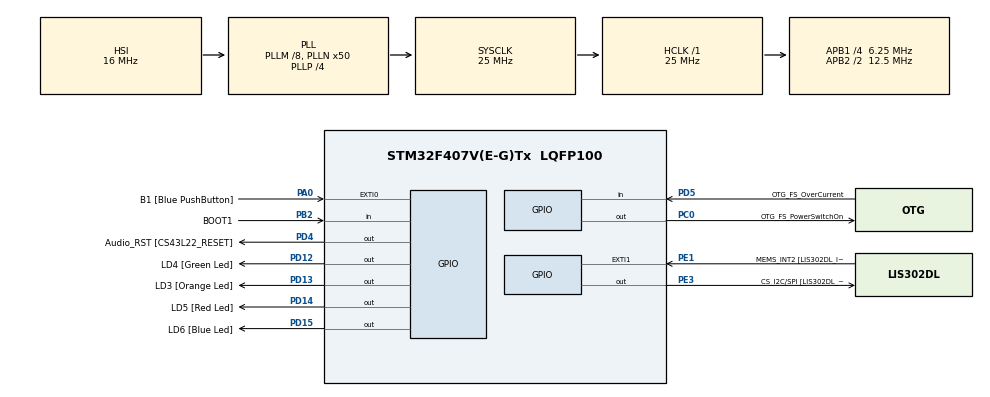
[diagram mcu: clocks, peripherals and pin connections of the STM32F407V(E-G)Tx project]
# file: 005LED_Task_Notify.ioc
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Mcu.Family=STM32F4
Mcu.Name=STM32F407V(E-G)Tx
Mcu.Package=LQFP100
NVIC.PriorityGroup=NVIC_PRIORITYGROUP_4
NVIC.TIM6_DAC_IRQn=true\:15\:0\:false\:false\:true\:false\:true
NVIC.TimeBase=TIM6_DAC_IRQn
NVIC.TimeBaseIP=TIM6
PA0-WKUP.GPIO_Label=B1 [Blue PushButton]
PA0-WKUP.Signal=GPXTI0
PA10.GPIO_Label=OTG_FS_ID
PA10.GPIO_Mode=GPIO_MODE_AF_PP
PA10.GPIO_PuPd=GPIO_NOPULL
PA10.GPIO_Speed=GPIO_SPEED_FREQ_LOW
PA10.Signal=USB_OTG_FS_ID
PA11.GPIO_Label=OTG_FS_DM
PA11.GPIO_Mode=GPIO_MODE_AF_PP
PA11.GPIO_PuPd=GPIO_NOPULL
PA11.GPIO_Speed=GPIO_SPEED_FREQ_LOW
PA11.Signal=USB_OTG_FS_DM
PA12.GPIO_Label=OTG_FS_DP
PA12.GPIO_Mode=GPIO_MODE_AF_PP
PA12.GPIO_PuPd=GPIO_NOPULL
PA12.GPIO_Speed=GPIO_SPEED_FREQ_LOW
PA12.Signal=USB_OTG_FS_DP
PA13.GPIO_Label=SWDIO
PA13.Signal=SYS_JTMS-SWDIO
PA14.GPIO_Label=SWCLK
PA14.Signal=SYS_JTCK-SWCLK
PA4.GPIO_Label=I2S3_WS [CS43L22_LRCK]
PA4.GPIO_Mode=GPIO_MODE_AF_PP
PA4.GPIO_PuPd=GPIO_NOPULL
PA4.GPIO_Speed=GPIO_SPEED_FREQ_LOW
PA4.Signal=I2S3_WS
PA5.GPIO_Label=SPI1_SCK [LIS302DL_SCL/SPC]
PA5.GPIO_Mode=GPIO_MODE_AF_PP
PA5.GPIO_PuPd=GPIO_NOPULL
PA5.GPIO_Speed=GPIO_SPEED_FREQ_LOW
PA5.Signal=SPI1_SCK
PA6.GPIO_Label=SPI1_MISO [LIS302DL_SDO]
PA6.GPIO_Mode=GPIO_MODE_AF_PP
PA6.GPIO_PuPd=GPIO_NOPULL
PA6.GPIO_Speed=GPIO_SPEED_FREQ_LOW
PA6.Signal=SPI1_MISO
PA7.GPIO_Label=SPI1_MOSI [LIS302DL_SDA/SDI/SDO]
PA7.GPIO_Mode=GPIO_MODE_AF_PP
PA7.GPIO_PuPd=GPIO_NOPULL
PA7.GPIO_Speed=GPIO_SPEED_FREQ_LOW
PA7.Signal=SPI1_MOSI
PA9.GPIO_Label=VBUS_FS
PA9.GPIO_Mode=GPIO_MODE_INPUT
PA9.GPIO_PuPd=GPIO_NOPULL
PA9.Signal=USB_OTG_FS_VBUS
PB10.GPIO_Label=CLK_IN [MP45DT02_CLK]
PB10.GPIO_Mode=GPIO_MODE_AF_PP
PB10.GPIO_PuPd=GPIO_NOPULL
PB10.GPIO_Speed=GPIO_SPEED_FREQ_LOW
PB10.Signal=I2S2_CK
PB2.GPIO_Label=BOOT1
PB2.GPIO_Mode=GPIO_MODE_INPUT
PB2.GPIO_PuPd=GPIO_NOPULL
PB2.Signal=GPIO_Input
PB3.GPIO_Label=SWO
PB3.Signal=SYS_JTDO-SWO
PB6.GPIO_Label=Audio_SCL [CS43L22_SCL]
PB6.GPIO_Mode=GPIO_MODE_AF_OD
PB6.GPIO_PuPd=GPIO_NOPULL
PB6.GPIO_Speed=GPIO_SPEED_FREQ_LOW
PB6.Signal=I2C1_SCL
PB9.GPIO_Label=Audio_SDA [CS43L22_SDA]
PB9.GPIO_Mode=GPIO_MODE_AF_OD
PB9.GPIO_PuPd=GPIO_NOPULL
PB9.GPIO_Speed=GPIO_SPEED_FREQ_LOW
PB9.Signal=I2C1_SDA
PC0.GPIO_Label=OTG_FS_PowerSwitchOn
PC0.GPIO_PuPd=GPIO_NOPULL
PC0.GPIO_Speed=GPIO_SPEED_FREQ_LOW
PC0.PinState=GPIO_PIN_SET
PC0.Signal=GPIO_Output
PC10.GPIO_Label=I2S3_SCK [CS43L22_SCLK]
PC10.GPIO_Mode=GPIO_MODE_AF_PP
PC10.GPIO_PuPd=GPIO_NOPULL
PC10.GPIO_Speed=GPIO_SPEED_FREQ_LOW
PC10.Signal=I2S3_CK
PC12.GPIO_Label=I2S3_SD [CS43L22_SDIN]
PC12.GPIO_Mode=GPIO_MODE_AF_PP
PC12.GPIO_PuPd=GPIO_NOPULL
PC12.GPIO_Speed=GPIO_SPEED_FREQ_LOW
PC12.Signal=I2S3_SD
PC14-OSC32_IN.GPIO_Label=PC14-OSC32_IN
PC14-OSC32_IN.Signal=RCC_OSC32_IN
PC15-OSC32_OUT.GPIO_Label=PC15-OSC32_OUT
PC15-OSC32_OUT.Signal=RCC_OSC32_OUT
PC3.GPIO_Label=PDM_OUT [MP45DT02_DOUT]
PC3.GPIO_Mode=GPIO_MODE_AF_PP
PC3.GPIO_PuPd=GPIO_NOPULL
PC3.GPIO_Speed=GPIO_SPEED_FREQ_LOW
PC3.Signal=I2S2_SD
PC7.GPIO_Label=I2S3_MCK [CS43L22_MCLK]
PC7.GPIO_Mode=GPIO_MODE_AF_PP
PC7.GPIO_PuPd=GPIO_NOPULL
PC7.GPIO_Speed=GPIO_SPEED_FREQ_LOW
PC7.Signal=I2S3_MCK
PD12.GPIO_Label=LD4 [Green Led]
PD12.GPIO_PuPd=GPIO_NOPULL
PD12.GPIO_Speed=GPIO_SPEED_FREQ_LOW
PD12.Signal=GPIO_Output
PD13.GPIO_Label=LD3 [Orange Led]
PD13.GPIO_PuPd=GPIO_NOPULL
PD13.GPIO_Speed=GPIO_SPEED_FREQ_LOW
PD13.Signal=GPIO_Output
PD14.GPIO_Label=LD5 [Red Led]
PD14.GPIO_PuPd=GPIO_NOPULL
PD14.GPIO_Speed=GPIO_SPEED_FREQ_LOW
PD14.Signal=GPIO_Output
PD15.GPIO_Label=LD6 [Blue Led]
PD15.GPIO_PuPd=GPIO_NOPULL
PD15.GPIO_Speed=GPIO_SPEED_FREQ_LOW
PD15.Signal=GPIO_Output
PD4.GPIO_Label=Audio_RST [CS43L22_RESET]
PD4.GPIO_PuPd=GPIO_NOPULL
PD4.GPIO_Speed=GPIO_SPEED_FREQ_LOW
PD4.Signal=GPIO_Output
PD5.GPIO_Label=OTG_FS_OverCurrent
PD5.GPIO_Mode=GPIO_MODE_INPUT
PD5.GPIO_PuPd=GPIO_NOPULL
PD5.Signal=GPIO_Input
PE1.GPIO_Label=MEMS_INT2 [LIS302DL_INT2]
PE1.GPIO_ModeDefaultEXTI=GPIO_MODE_EVT_RISING
PE1.GPIO_PuPd=GPIO_NOPULL
PE1.Signal=GPXTI1
PE3.GPIO_Label=CS_I2C/SPI [LIS302DL_CS_I2C/SPI]
PE3.GPIO_PuPd=GPIO_NOPULL
PE3.GPIO_Speed=GPIO_SPEED_FREQ_LOW
PE3.Signal=GPIO_Output
PH0-OSC_IN.GPIO_Label=PH0-OSC_IN
PH0-OSC_IN.Signal=RCC_OSC_IN
PH1-OSC_OUT.GPIO_Label=PH1-OSC_OUT
PH1-OSC_OUT.Signal=RCC_OSC_OUT
ProjectManager.HeapSize=0x200
ProjectManager.StackSize=0x400
ProjectManager.TargetToolchain=STM32CubeIDE
RCC.48MHZClocksFreq_Value=14285714.285714285
RCC.AHBFreq_Value=25000000
RCC.APB1CLKDivider=RCC_HCLK_DIV4
RCC.APB1Freq_Value=6250000
RCC.APB1TimFreq_Value=12500000
RCC.APB2CLKDivider=RCC_HCLK_DIV2
RCC.APB2Freq_Value=12500000
RCC.APB2TimFreq_Value=25000000
RCC.CortexFreq_Value=25000000
RCC.HCLKFreq_Value=25000000
RCC.HSE_VALUE=8000000
RCC.HSI_VALUE=16000000
RCC.LSE_VALUE=32768
RCC.PLLM=8
RCC.PLLN=50
RCC.PLLP=RCC_PLLP_DIV4
RCC.PLLQ=7
RCC.SYSCLKFreq_VALUE=25000000
RCC.SYSCLKSource=RCC_SYSCLKSOURCE_PLLCLK
RCC.VCOOutputFreq_Value=100000000
VP_SYS_VS_tim6.Mode=TIM6
board=STM32F407G-DISC1

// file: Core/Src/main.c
/* USER CODE BEGIN Header */
/**
  ******************************************************************************
  * @file           : main.c
  * @brief          : Main program body
  ******************************************************************************
  * @attention
  *
  * <h2><center>&copy; Copyright (c) 2022 STMicroelectronics.
  * All rights reserved.</center></h2>
  *
  * This software component is licensed by ST under BSD 3-Clause license,
  * the "License"; You may not use this file except in compliance with the
  * License. You may obtain a copy of the License at:
  *                        opensource.org/licenses/BSD-3-Clause
  *
  ******************************************************************************
  */
/* USER CODE END Header */
#include "main.h"

/* USER CODE BEGIN Includes */
#include <stdio.h>
#include "FreeRTOS.h"
#include "task.h"
/* USER CODE END Includes */

/* USER CODE BEGIN PV */
#define DWT_CTRL	(*(volatile uint32_t*)0xE0001000)
/* USER CODE END PV */

void SystemClock_Config(void);
static void MX_GPIO_Init(void);
/* USER CODE BEGIN PFP */

static void led_green_handler(void *parameters);
static void led_orange_handler(void *parameters);
static void led_red_handler(void *parameters);
static void button_handler(void *parameters);

extern void SEGGER_UART_init(U32 baud);

TaskHandle_t ledg_task_handle;
TaskHandle_t ledo_task_handle;
TaskHandle_t ledr_task_handle;
TaskHandle_t btn_task_handle;

TaskHandle_t volatile next_task_handle = NULL;

/* USER CODE END PFP */

int main(void)
{
  /* USER CODE BEGIN 1 */

	BaseType_t status;

  /* USER CODE END 1 */

  /* MCU Configuration--------------------------------------------------------*/

  /* Reset of all peripherals, Initializes the Flash interface and the Systick. */
  HAL_Init();

  /* Configure the system clock */
  SystemClock_Config();

  /* Initialize all configured peripherals */
  MX_GPIO_Init();
  /* USER CODE BEGIN 2 */

  // Enable the CYCCNT counter
  DWT_CTRL |= (1 << 0);

  SEGGER_UART_init(500000);

  SEGGER_SYSVIEW_Conf();

  status = xTaskCreate(led_green_handler, "led_green_task", 200, NULL, 3, &ledg_task_handle);

  configASSERT(status == pdPASS);

  next_task_handle = ledg_task_handle;

  status = xTaskCreate(led_orange_handler, "led_orange_task", 200, NULL, 2, &ledo_task_handle);

  configASSERT(status == pdPASS);

  status = xTaskCreate(led_red_handler, "led_red_task", 200, NULL, 1, &ledr_task_handle);

  configASSERT(status == pdPASS);

  status = xTaskCreate(button_handler, "Button Task", 200, NULL, 4, &btn_task_handle);

  configASSERT(status == pdPASS);

  // start the freeRTOS schedular
  vTaskStartScheduler();

  // if the control comes here then the launch of the schedular has failed due to insufficient memory in heap

  /* USER CODE END 2 */

  /* Infinite loop */
  while (1)
  {

  }
}

void SystemClock_Config(void)
{
  RCC_OscInitTypeDef RCC_OscInitStruct = {0};
  RCC_ClkInitTypeDef RCC_ClkInitStruct = {0};

  /** Configure the main internal regulator output voltage
  */
  __HAL_RCC_PWR_CLK_ENABLE();
  __HAL_PWR_VOLTAGESCALING_CONFIG(PWR_REGULATOR_VOLTAGE_SCALE1);
  /** Initializes the RCC Oscillators according to the specified parameters
  * in the RCC_OscInitTypeDef structure.
  */
  RCC_OscInitStruct.OscillatorType = RCC_OSCILLATORTYPE_HSI;
  RCC_OscInitStruct.HSIState = RCC_HSI_ON;
  RCC_OscInitStruct.HSICalibrationValue = RCC_HSICALIBRATION_DEFAULT;
  RCC_OscInitStruct.PLL.PLLState = RCC_PLL_ON;
  RCC_OscInitStruct.PLL.PLLSource = RCC_PLLSOURCE_HSI;
  RCC_OscInitStruct.PLL.PLLM = 8;
  RCC_OscInitStruct.PLL.PLLN = 50;
  RCC_OscInitStruct.PLL.PLLP = RCC_PLLP_DIV4;
  RCC_OscInitStruct.PLL.PLLQ = 7;
  if (HAL_RCC_OscConfig(&RCC_OscInitStruct) != HAL_OK)
  {
    Error_Handler();
  }
  /** Initializes the CPU, AHB and APB buses clocks
  */
  RCC_ClkInitStruct.ClockType = RCC_CLOCKTYPE_HCLK|RCC_CLOCKTYPE_SYSCLK
                              |RCC_CLOCKTYPE_PCLK1|RCC_CLOCKTYPE_PCLK2;
  RCC_ClkInitStruct.SYSCLKSource = RCC_SYSCLKSOURCE_PLLCLK;
  RCC_ClkInitStruct.AHBCLKDivider = RCC_SYSCLK_DIV1;
  RCC_ClkInitStruct.APB1CLKDivider = RCC_HCLK_DIV4;
  RCC_ClkInitStruct.APB2CLKDivider = RCC_HCLK_DIV2;

  if (HAL_RCC_ClockConfig(&RCC_ClkInitStruct, FLASH_LATENCY_0) != HAL_OK)
  {
    Error_Handler();
  }
}

static void MX_GPIO_Init(void)
{
  GPIO_InitTypeDef GPIO_InitStruct = {0};

  /* GPIO Ports Clock Enable */
  __HAL_RCC_GPIOE_CLK_ENABLE();
  __HAL_RCC_GPIOC_CLK_ENABLE();
  __HAL_RCC_GPIOH_CLK_ENABLE();
  __HAL_RCC_GPIOA_CLK_ENABLE();
  __HAL_RCC_GPIOB_CLK_ENABLE();
  __HAL_RCC_GPIOD_CLK_ENABLE();

  /*Configure GPIO pin Output Level */
  HAL_GPIO_WritePin(CS_I2C_SPI_GPIO_Port, CS_I2C_SPI_Pin, GPIO_PIN_RESET);

  /*Configure GPIO pin Output Level */
  HAL_GPIO_WritePin(OTG_FS_PowerSwitchOn_GPIO_Port, OTG_FS_PowerSwitchOn_Pin, GPIO_PIN_SET);

  /*Configure GPIO pin Output Level */
  HAL_GPIO_WritePin(GPIOD, LD4_Pin|LD3_Pin|LD5_Pin|LD6_Pin
                          |Audio_RST_Pin, GPIO_PIN_RESET);

  /*Configure GPIO pin : CS_I2C_SPI_Pin */
  GPIO_InitStruct.Pin = CS_I2C_SPI_Pin;
  GPIO_InitStruct.Mode = GPIO_MODE_OUTPUT_PP;
  GPIO_InitStruct.Pull = GPIO_NOPULL;
  GPIO_InitStruct.Speed = GPIO_SPEED_FREQ_LOW;
  HAL_GPIO_Init(CS_I2C_SPI_GPIO_Port, &GPIO_InitStruct);

  /*Configure GPIO pin : OTG_FS_PowerSwitchOn_Pin */
  GPIO_InitStruct.Pin = OTG_FS_PowerSwitchOn_Pin;
  GPIO_InitStruct.Mode = GPIO_MODE_OUTPUT_PP;
  GPIO_InitStruct.Pull = GPIO_NOPULL;
  GPIO_InitStruct.Speed = GPIO_SPEED_FREQ_LOW;
  HAL_GPIO_Init(OTG_FS_PowerSwitchOn_GPIO_Port, &GPIO_InitStruct);

  /*Configure GPIO pin : PDM_OUT_Pin */
  GPIO_InitStruct.Pin = PDM_OUT_Pin;
  GPIO_InitStruct.Mode = GPIO_MODE_AF_PP;
  GPIO_InitStruct.Pull = GPIO_NOPULL;
  GPIO_InitStruct.Speed = GPIO_SPEED_FREQ_LOW;
  GPIO_InitStruct.Alternate = GPIO_AF5_SPI2;
  HAL_GPIO_Init(PDM_OUT_GPIO_Port, &GPIO_InitStruct);

  /*Configure GPIO pin : B1_Pin */
  GPIO_InitStruct.Pin = B1_Pin;
  GPIO_InitStruct.Mode = GPIO_MODE_IT_RISING;
  GPIO_InitStruct.Pull = GPIO_NOPULL;
  HAL_GPIO_Init(B1_GPIO_Port, &GPIO_InitStruct);

  /*Configure GPIO pin : I2S3_WS_Pin */
  GPIO_InitStruct.Pin = I2S3_WS_Pin;
  GPIO_InitStruct.Mode = GPIO_MODE_AF_PP;
  GPIO_InitStruct.Pull = GPIO_NOPULL;
  GPIO_InitStruct.Speed = GPIO_SPEED_FREQ_LOW;
  GPIO_InitStruct.Alternate = GPIO_AF6_SPI3;
  HAL_GPIO_Init(I2S3_WS_GPIO_Port, &GPIO_InitStruct);

  /*Configure GPIO pins : SPI1_SCK_Pin SPI1_MISO_Pin SPI1_MOSI_Pin */
  GPIO_InitStruct.Pin = SPI1_SCK_Pin|SPI1_MISO_Pin|SPI1_MOSI_Pin;
  GPIO_InitStruct.Mode = GPIO_MODE_AF_PP;
  GPIO_InitStruct.Pull = GPIO_NOPULL;
  GPIO_InitStruct.Speed = GPIO_SPEED_FREQ_LOW;
  GPIO_InitStruct.Alternate = GPIO_AF5_SPI1;
  HAL_GPIO_Init(GPIOA, &GPIO_InitStruct);

  /*Configure GPIO pin : BOOT1_Pin */
  GPIO_InitStruct.Pin = BOOT1_Pin;
  GPIO_InitStruct.Mode = GPIO_MODE_INPUT;
  GPIO_InitStruct.Pull = GPIO_NOPULL;
  HAL_GPIO_Init(BOOT1_GPIO_Port, &GPIO_InitStruct);

  /*Configure GPIO pin : CLK_IN_Pin */
  GPIO_InitStruct.Pin = CLK_IN_Pin;
  GPIO_InitStruct.Mode = GPIO_MODE_AF_PP;
  GPIO_InitStruct.Pull = GPIO_NOPULL;
  GPIO_InitStruct.Speed = GPIO_SPEED_FREQ_LOW;
  GPIO_InitStruct.Alternate = GPIO_AF5_SPI2;
  HAL_GPIO_Init(CLK_IN_GPIO_Port, &GPIO_InitStruct);

  /*Configure GPIO pins : LD4_Pin LD3_Pin LD5_Pin LD6_Pin
                           Audio_RST_Pin */
  GPIO_InitStruct.Pin = LD4_Pin|LD3_Pin|LD5_Pin|LD6_Pin
                          |Audio_RST_Pin;
  GPIO_InitStruct.Mode = GPIO_MODE_OUTPUT_PP;
  GPIO_InitStruct.Pull = GPIO_NOPULL;
  GPIO_InitStruct.Speed = GPIO_SPEED_FREQ_LOW;
  HAL_GPIO_Init(GPIOD, &GPIO_InitStruct);

  /*Configure GPIO pins : I2S3_MCK_Pin I2S3_SCK_Pin I2S3_SD_Pin */
  GPIO_InitStruct.Pin = I2S3_MCK_Pin|I2S3_SCK_Pin|I2S3_SD_Pin;
  GPIO_InitStruct.Mode = GPIO_MODE_AF_PP;
  GPIO_InitStruct.Pull = GPIO_NOPULL;
  GPIO_InitStruct.Speed = GPIO_SPEED_FREQ_LOW;
  GPIO_InitStruct.Alternate = GPIO_AF6_SPI3;
  HAL_GPIO_Init(GPIOC, &GPIO_InitStruct);

  /*Configure GPIO pin : VBUS_FS_Pin */
  GPIO_InitStruct.Pin = VBUS_FS_Pin;
  GPIO_InitStruct.Mode = GPIO_MODE_INPUT;
  GPIO_InitStruct.Pull = GPIO_NOPULL;
  HAL_GPIO_Init(VBUS_FS_GPIO_Port, &GPIO_InitStruct);

  /*Configure GPIO pins : OTG_FS_ID_Pin OTG_FS_DM_Pin OTG_FS_DP_Pin */
  GPIO_InitStruct.Pin = OTG_FS_ID_Pin|OTG_FS_DM_Pin|OTG_FS_DP_Pin;
  GPIO_InitStruct.Mode = GPIO_MODE_AF_PP;
  GPIO_InitStruct.Pull = GPIO_NOPULL;
  GPIO_InitStruct.Speed = GPIO_SPEED_FREQ_LOW;
  GPIO_InitStruct.Alternate = GPIO_AF10_OTG_FS;
  HAL_GPIO_Init(GPIOA, &GPIO_InitStruct);

  /*Configure GPIO pin : OTG_FS_OverCurrent_Pin */
  GPIO_InitStruct.Pin = OTG_FS_OverCurrent_Pin;
  GPIO_InitStruct.Mode = GPIO_MODE_INPUT;
  GPIO_InitStruct.Pull = GPIO_NOPULL;
  HAL_GPIO_Init(OTG_FS_OverCurrent_GPIO_Port, &GPIO_InitStruct);

  /*Configure GPIO pins : Audio_SCL_Pin Audio_SDA_Pin */
  GPIO_InitStruct.Pin = Audio_SCL_Pin|Audio_SDA_Pin;
  GPIO_InitStruct.Mode = GPIO_MODE_AF_OD;
  GPIO_InitStruct.Pull = GPIO_NOPULL;
  GPIO_InitStruct.Speed = GPIO_SPEED_FREQ_LOW;
  GPIO_InitStruct.Alternate = GPIO_AF4_I2C1;
  HAL_GPIO_Init(GPIOB, &GPIO_InitStruct);

  /*Configure GPIO pin : MEMS_INT2_Pin */
  GPIO_InitStruct.Pin = MEMS_INT2_Pin;
  GPIO_InitStruct.Mode = GPIO_MODE_EVT_RISING;
  GPIO_InitStruct.Pull = GPIO_NOPULL;
  HAL_GPIO_Init(MEMS_INT2_GPIO_Port, &GPIO_InitStruct);

}

/* USER CODE BEGIN 4 */
static void led_green_handler(void *parameters)
{
	BaseType_t status;
	while(1)
	{
		SEGGER_SYSVIEW_PrintfTarget("Toggling green LED");
		HAL_GPIO_TogglePin(GPIOD, LED_GREEN_PIN);
		status = xTaskNotifyWait(0, 0, NULL, pdMS_TO_TICKS(1000));
		if(status == pdTRUE){
			vTaskSuspendAll();
			next_task_handle = ledo_task_handle;
			xTaskResumeAll();
			HAL_GPIO_WritePin(GPIOD, LED_GREEN_PIN, GPIO_PIN_SET);
			vTaskDelete(NULL);
		}else{

		}
	}
}

static void led_orange_handler(void *parameters)
{
	BaseType_t status;
	while(1)
	{
		SEGGER_SYSVIEW_PrintfTarget("Toggling orange LED");
		HAL_GPIO_TogglePin(GPIOD, LED_ORANGE_PIN);
		status = xTaskNotifyWait(0, 0, NULL, pdMS_TO_TICKS(800));
		if(status == pdTRUE){
			vTaskSuspendAll();
			next_task_handle = ledr_task_handle;
			xTaskResumeAll();
			HAL_GPIO_WritePin(GPIOD, LED_ORANGE_PIN, GPIO_PIN_SET);
			vTaskDelete(NULL);
		}else{

		}
	}
}

static void led_red_handler(void *parameters)
{
	BaseType_t status;
	while(1)
	{
		SEGGER_SYSVIEW_PrintfTarget("Toggling red LED");
		HAL_GPIO_TogglePin(GPIOD, LED_RED_PIN);
		status = xTaskNotifyWait(0, 0, NULL, pdMS_TO_TICKS(400));
		if(status == pdTRUE){
			vTaskSuspendAll();
			next_task_handle = NULL;
			xTaskResumeAll();
			HAL_GPIO_WritePin(GPIOD, LED_RED_PIN, GPIO_PIN_SET);
			vTaskDelete(btn_task_handle);
			vTaskDelete(NULL);
		}else{

		}
	}
}

static void button_handler(void *parameters)
{
	uint8_t btn_read = 0;
	uint8_t prev_read = 0;

	while(1)
	{
		btn_read = HAL_GPIO_ReadPin(GPIOA, GPIO_PIN_0);
		if(btn_read)
		{
			if(! prev_read)
				xTaskNotify(next_task_handle, 0, eNoAction);
		}
		prev_read = btn_read;
		vTaskDelay(pdMS_TO_TICKS(10));
	}
}

/* USER CODE END 4 */

void HAL_TIM_PeriodElapsedCallback(TIM_HandleTypeDef *htim)
{
  if (htim->Instance == TIM6) {
    HAL_IncTick();
  }
}

void Error_Handler(void)
{
  __disable_irq();
  while (1)
  {
  }
}

/************************ (C) COPYRIGHT STMicroelectronics *****END OF FILE****/
